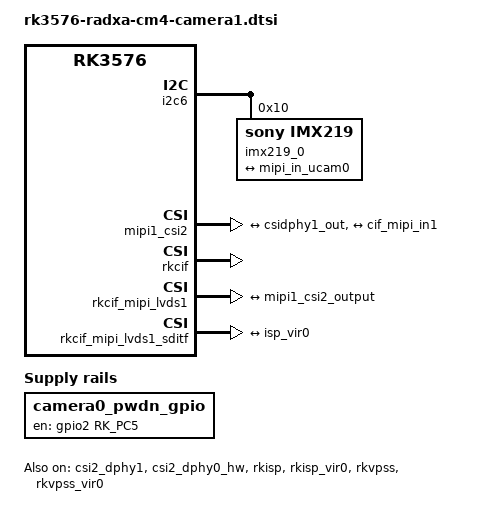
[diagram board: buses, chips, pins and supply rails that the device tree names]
// SPDX-License-Identifier: (GPL-2.0+ OR MIT)
/*
 * Copyright (c) 2024 Rockchip Electronics Co., Ltd.
 *
 */
/ {
	camera0_pwdn_gpio: camera0-pwdn-gpio {
		compatible = "regulator-fixed";
		regulator-name = "camera_pwdn_gpio";
		regulator-always-on;
		regulator-boot-on;
		enable-active-high;
		gpio = <&gpio2 RK_PC5 GPIO_ACTIVE_HIGH>;
		pinctrl-names = "default";
		pinctrl-0 = <&cam0_pwdn_gpio>;
	};
};

&csi2_dphy1 {
	status = "okay";

	ports {
		#address-cells = <1>;
		#size-cells = <0>;
		port@0 {
			reg = <0>;
			#address-cells = <1>;
			#size-cells = <0>;

			mipi_in_ucam0: endpoint@1 {
				reg = <1>;
				remote-endpoint = <&imx219_out0>;
				data-lanes = <1 2>;
			};
		};
		port@1 {
			reg = <1>;
			#address-cells = <1>;
			#size-cells = <0>;

			csidphy1_out: endpoint@0 {
				reg = <0>;
				remote-endpoint = <&mipi1_csi2_input>;
			};
		};
	};
};

&csi2_dphy0_hw {
	status = "okay";
};


&i2c6 {
	status = "okay";
	pinctrl-0 = <&i2c6m3_xfer>;

	imx219_0: imx219-0@10 {
		compatible = "sony,imx219";
		reg = <0x10>;

		clocks = <&cru CLK_MIPI_CAMERAOUT_M0>;
		clock-names = "xvclk";
		pinctrl-names = "default";
		pinctrl-0 = <&cam_clk0m0_clk0>;
		power-domains = <&power RK3576_PD_VI>;
		// pwdn-gpios = <&gpio2 RK_PC5 GPIO_ACTIVE_HIGH>;
		
		rockchip,camera-module-index = <1>;
		rockchip,camera-module-facing = "front";
		rockchip,camera-module-name = "rpi-camera-v2";
		rockchip,camera-module-lens-name = "default";

		port {
			imx219_out0: endpoint {
				remote-endpoint = <&mipi_in_ucam0>;
				data-lanes = <1 2>;
			};
		};
	};
};

&mipi1_csi2 {
	status = "okay";

	ports {
		#address-cells = <1>;
		#size-cells = <0>;

		port@0 {
			reg = <0>;
			#address-cells = <1>;
			#size-cells = <0>;

			mipi1_csi2_input: endpoint@1 {
				reg = <1>;
				remote-endpoint = <&csidphy1_out>;
			};
		};

		port@1 {
			reg = <1>;
			#address-cells = <1>;
			#size-cells = <0>;

			mipi1_csi2_output: endpoint@0 {
				reg = <0>;
				remote-endpoint = <&cif_mipi_in1>;
			};
		};
	};
};

&rkcif {
	status = "okay";
};

&rkcif_mipi_lvds1 {
	status = "okay";

	port {
		cif_mipi_in1: endpoint {
			remote-endpoint = <&mipi1_csi2_output>;
		};
	};
};

&rkcif_mipi_lvds1_sditf {
	status = "okay";

	port {
		mipi0_lvds_sditf: endpoint {
			remote-endpoint = <&isp_vir0>;
		};
	};
};

&rkcif_mmu {
	status = "okay";
};

&rkisp {
	status = "okay";
};

&rkisp_mmu {
	status = "okay";
};

&rkisp_vir0 {
	status = "okay";

	port {
		#address-cells = <1>;
		#size-cells = <0>;

		isp_vir0: endpoint@0 {
			reg = <0>;
			remote-endpoint = <&mipi0_lvds_sditf>;
		};
	};
};

&rkvpss {
	status = "okay";
};

&rkvpss_mmu {
	status = "okay";
};

&rkvpss_vir0 {
	status = "okay";
};


&pinctrl {
	camera {
		cam0_pwdn_gpio: cam0-pwdn-gpio {
			rockchip,pins = <2 RK_PC5 RK_FUNC_GPIO &pcfg_pull_up>;
		};
	};
};
